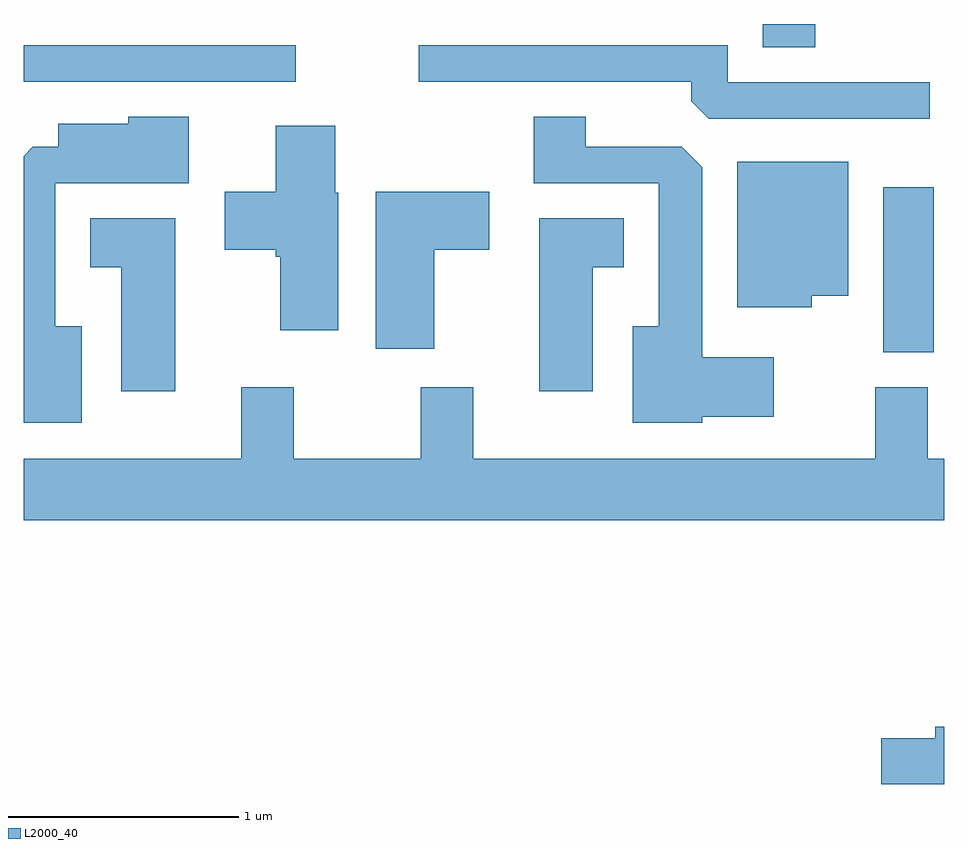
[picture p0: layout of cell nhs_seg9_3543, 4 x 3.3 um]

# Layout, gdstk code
import gdstk
lib = gdstk.Library(unit=1e-6, precision=1e-09)
def R(c, l, rs):  # rectangles x0, y0, x1, y1
    for r in rs: c.add(gdstk.rectangle(r[:2], r[2:], *l))
def P(c, l, *ps):  # polygons
    for p in ps: c.add(gdstk.Polygon(p, *l))
L2000_40 = (2000, 40)

nhs_seg9_3543 = lib.new_cell('nhs_seg9_3543')
R(nhs_seg9_3543, L2000_40, [(293.346,1977.006,293.564,1977.724), (289.611,1978.181,290.793,1978.339), (292.821,1978.331,293.049,1978.432)])
P(nhs_seg9_3543, L2000_40, [(293.548,1978.179),(292.669,1978.179),(292.669,1978.339),(291.328,1978.339),(291.328,1978.181),(292.511,1978.181),(292.511,1978.097),(292.587,1978.021),(293.548,1978.021)],
  [(292.559,1976.726),(292.869,1976.726),(292.869,1976.984),(292.559,1976.984),(292.559,1977.809),(292.469,1977.899),(292.054,1977.899),(292.054,1978.029),(291.826,1978.029),(291.826,1977.741),(292.371,1977.741),(292.371,1977.119),(292.256,1977.119),(292.256,1976.701),(292.559,1976.701)],
  [(289.864,1977.119),(289.749,1977.119),(289.749,1977.741),(290.329,1977.741),(290.329,1978.029),(290.066,1978.029),(290.066,1977.999),(289.761,1977.999),(289.761,1977.899),(289.652,1977.899),(289.611,1977.858),(289.611,1976.701),(289.864,1976.701)],
  [(290.979,1977.7),(290.964,1977.7),(290.964,1977.989),(290.706,1977.989),(290.706,1977.704),(290.486,1977.704),(290.486,1977.451),(290.706,1977.451),(290.706,1977.421),(290.726,1977.421),(290.726,1977.101),(290.979,1977.101)],
  [(293.034,1977.251),(293.194,1977.251),(293.194,1977.834),(292.711,1977.834),(292.711,1977.201),(293.034,1977.201)],
  [(291.394,1977.451),(291.634,1977.451),(291.634,1977.704),(291.141,1977.704),(291.141,1977.021),(291.394,1977.021)],
  [(290.269,1977.589),(289.901,1977.589),(289.901,1977.376),(290.036,1977.376),(290.036,1976.836),(290.269,1976.836)],
  [(292.084,1977.376),(292.219,1977.376),(292.219,1977.589),(291.851,1977.589),(291.851,1976.836),(292.084,1976.836)],
  [(293.611,1976.544),(293.539,1976.544),(293.539,1976.854),(293.311,1976.854),(293.311,1976.544),(291.564,1976.544),(291.564,1976.854),(291.336,1976.854),(291.336,1976.544),(290.784,1976.544),(290.784,1976.854),(290.556,1976.854),(290.556,1976.544),(289.611,1976.544),(289.611,1976.276),(293.611,1976.276)],
  [(293.611,1975.379),(293.571,1975.379),(293.571,1975.329),(293.336,1975.329),(293.336,1975.131),(293.611,1975.131)])

lib.write_gds('nhs_seg9_3543.gds')
